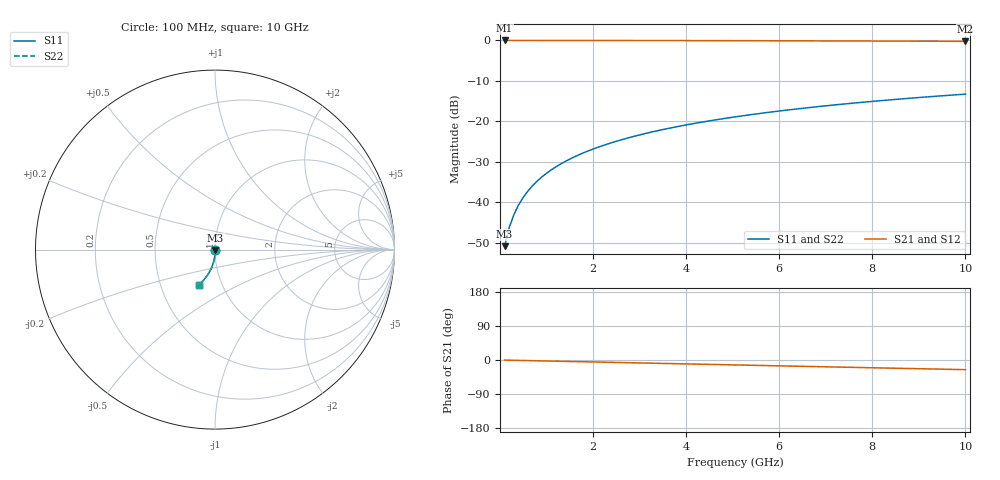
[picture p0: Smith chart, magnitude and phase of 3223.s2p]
# Hz S RI R 50.00
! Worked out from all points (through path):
!   100 points, 100 MHz to 10 GHz, reference 50 ohm
!   highest |S21| = -0.02 dB at 100 MHz (marker M1); lowest = -0.2 dB at 10 GHz (marker M2)
!   group delay of S21, straight-line fit = 7.08 ps
!   lowest |S11| = -50.9 dB at 100 MHz (marker M3), VSWR 1.01, Z = 50.2 - j0.229 ohm
!   |S11| at or under -10 dB: start of sweep to end of sweep
!   |S22| runs from -50.9 to -13.3 dB; largest |S21 - S12| = 0
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1e8  0.00173 -0.00228  0.9982 -0.0045  0.9982 -0.0045  0.00173 -0.00228
2e8  0.00171 -0.00456  0.9982 -0.00901  0.9982 -0.00901  0.00171 -0.00456
3e8  0.00166 -0.00684  0.9981 -0.0135  0.9981 -0.0135  0.00166 -0.00684
4e8  0.0016 -0.00912  0.998 -0.018  0.998 -0.018  0.0016 -0.00912
5e8  0.00151 -0.0114  0.9979 -0.0225  0.9979 -0.0225  0.00151 -0.0114
6e8  0.0014 -0.0137  0.9977 -0.027  0.9977 -0.027  0.0014 -0.0137
7e8  0.00126 -0.016  0.9976 -0.0315  0.9976 -0.0315  0.00126 -0.016
8e8  0.00111 -0.0182  0.9974 -0.036  0.9974 -0.036  0.00111 -0.0182
9e8  0.000939 -0.0205  0.9971 -0.0405  0.9971 -0.0405  0.000939 -0.0205
1.1e9  0.00053 -0.025  0.9966 -0.0495  0.9966 -0.0495  0.00053 -0.025
1.4e9  -0.000237 -0.0318  0.9956 -0.063  0.9956 -0.063  -0.000237 -0.0318
1.8e9  -0.00155 -0.0409  0.994 -0.0809  0.994 -0.0809  -0.00155 -0.0409
2.1e9  -0.00274 -0.0476  0.9925 -0.0943  0.9925 -0.0943  -0.00274 -0.0476
2.5e9  -0.00461 -0.0565  0.9901 -0.112  0.9901 -0.112  -0.00461 -0.0565
2.9e9  -0.0068 -0.0653  0.9874 -0.1298  0.9874 -0.1298  -0.0068 -0.0653
3.4e9  -0.00998 -0.0762  0.9834 -0.1518  0.9834 -0.1518  -0.00998 -0.0762
4.2e9  -0.0161 -0.0933  0.9758 -0.1866  0.9758 -0.1866  -0.0161 -0.0933
5.1e9  -0.0243 -0.1119  0.9654 -0.2252  0.9654 -0.2252  -0.0243 -0.1119
5.9e9  -0.0328 -0.1277  0.9546 -0.2588  0.9546 -0.2588  -0.0328 -0.1277
6.7e9  -0.0424 -0.1428  0.9425 -0.2918  0.9425 -0.2918  -0.0424 -0.1428
8.4e9  -0.066 -0.1723  0.9124 -0.3591  0.9124 -0.3591  -0.066 -0.1723
1e10  -0.0916 -0.1963  0.8792 -0.4187  0.8792 -0.4187  -0.0916 -0.1963
